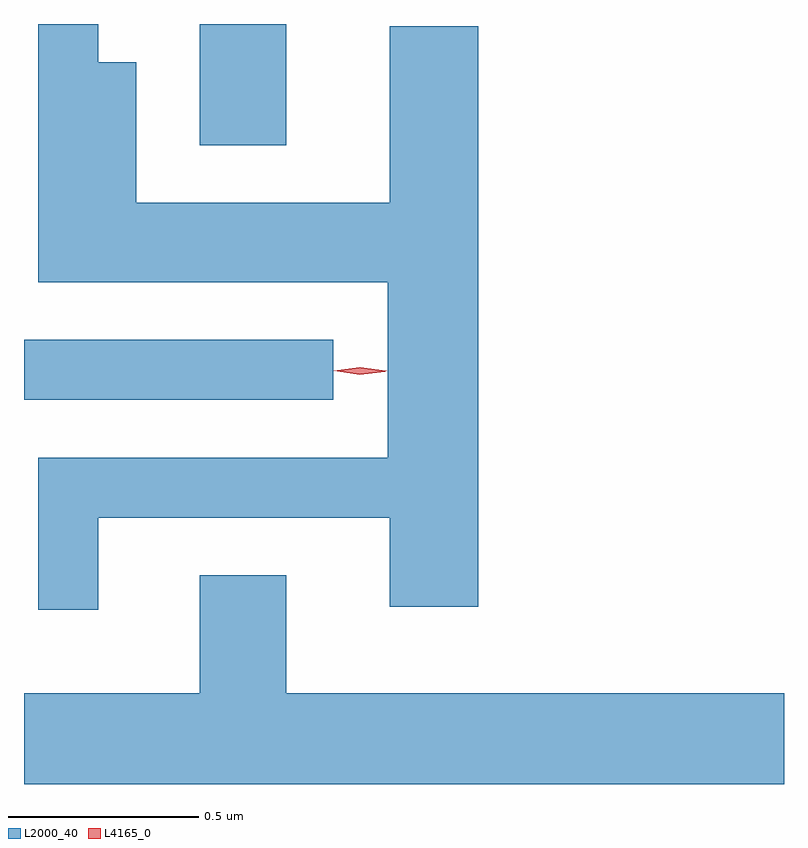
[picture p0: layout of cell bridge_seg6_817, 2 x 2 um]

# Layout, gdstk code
import gdstk
lib = gdstk.Library(unit=1e-6, precision=1e-09)
def R(c, l, rs):  # rectangles x0, y0, x1, y1
    for r in rs: c.add(gdstk.rectangle(r[:2], r[2:], *l))
def P(c, l, *ps):  # polygons
    for p in ps: c.add(gdstk.Polygon(p, *l))
L2000_40 = (2000, 40)
L4165_0 = (4165, 0)

bridge_seg6_817 = lib.new_cell('bridge_seg6_817')
R(bridge_seg6_817, L2000_40, [(524.359,1566.616,525.173,1566.774), (524.821,1567.286,525.049,1567.605)])
P(bridge_seg6_817, L2000_40, [(524.554,1566.306),(525.321,1566.306),(525.321,1566.071),(525.554,1566.071),(525.554,1567.599),(525.321,1567.599),(525.321,1567.134),(524.654,1567.134),(524.654,1567.504),(524.554,1567.504),(524.554,1567.605),(524.396,1567.605),(524.396,1566.926),(525.316,1566.926),(525.316,1566.464),(524.396,1566.464),(524.396,1566.063),(524.554,1566.063)],
  [(526.359,1565.844),(525.049,1565.844),(525.049,1566.154),(524.821,1566.154),(524.821,1565.844),(524.359,1565.844),(524.359,1565.605),(526.359,1565.605)])
P(bridge_seg6_817, L4165_0, [(525.243,1566.682),(525.178,1566.692),(525.177,1566.693),(525.178,1566.693),(525.244,1566.702),(525.309,1566.692),(525.31,1566.691),(525.309,1566.69)],
  [(525.243,1566.682),(525.174,1566.692),(525.173,1566.692),(525.174,1566.693),(525.243,1566.702),(525.312,1566.693),(525.313,1566.692),(525.312,1566.692)])

lib.write_gds('bridge_seg6_817.gds')
